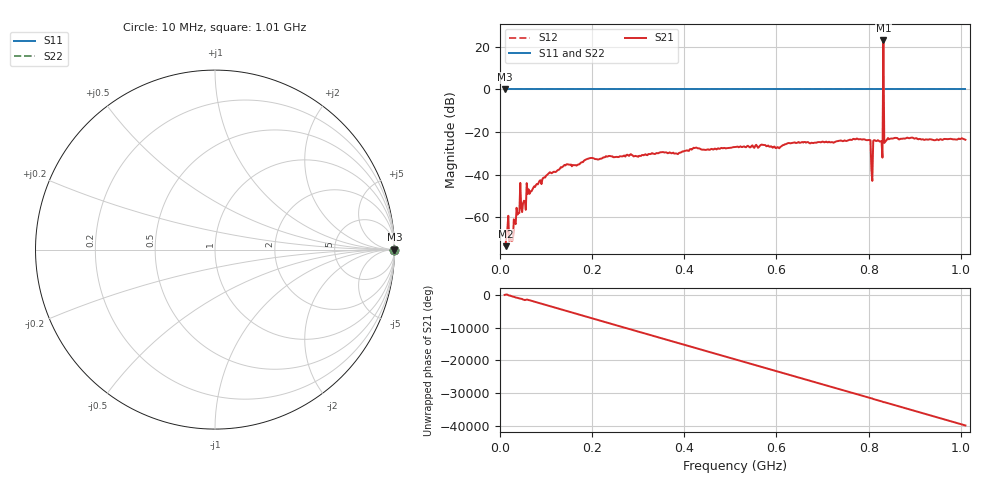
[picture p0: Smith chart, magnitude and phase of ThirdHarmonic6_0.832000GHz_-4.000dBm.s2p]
! 8/16/2025 3:36:27 AM
! C:\ANRITSUVNA\TEMP\TEMP.S2P
! CHANNEL.1
! TR.MEASUREMENT
! RAW.DATA
! RF.CORRECTION.OFF
! AVERAGING.OFF
! IF.BANDWIDTH: 5KHZ
! SWEEPTYPE:  FREQ.SWEEP(Linear)
! Reference Plane Port Info
! PORT:  PORT1  PORT2
! DISTANCE:  0  m  0  m
! TIME:  0  s  0  s
! PHASE.OFFSET:  0  deg.  0  deg.
! LOSS:  0  dB  0  dB
! REF.LOSS:  0  dB  0  dB
! REF.FREQ:  0  Hz  0  Hz
! Power Info
! POWER:  -20  dBm  -20  dBm
! EFF.POWER:  -20  dBm  -20  dBm
! SOURCE.ATTEN:  0  dB  0  dB
! TEST.ATTEN:  0  dB  0  dB
# GHZ S RI R 50.0
! FREQ.GHZ  S11RE  S11IM  S21RE  S21IM  S12RE  S12IM  S22RE  S22IM
!; PortSelection: Port_12
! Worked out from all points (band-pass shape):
!   501 points, 10 MHz to 1.01 GHz, reference 50 ohm
!   highest |S21| = 23.04 dB at 832 MHz (marker M1); lowest = -73.7 dB at 12 MHz (marker M2)
!   |S21| within 3 dB of the highest: 831.8911 MHz to 832.1245 MHz (233.4 kHz wide, 0.028 % of centre)
!   lowest |S11| = 0.0 dB at 10 MHz (marker M3)
!   |S11| at or under -10 dB: nowhere
!   |S22| runs from 0.0 to 0.0 dB; largest |S21 - S12| = 14
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0.01  1 0  0.000136 -0.000169  1 0  1 0
0.012  1 0  0.000149 0.000143  1 0  1 0
0.018  1 0  -0.000818 -0.00069  1 0  1 0
0.024  1 0  0.000231 -0.000157  1 0  1 0
0.04  1 0  0.000951 0.000791  1 0  1 0
0.052  1 0  0.000179 -0.00241  1 0  1 0
0.062  1 0  -0.00449 0.000261  1 0  1 0
0.178  1 0  -0.0189 -0.00474  1 0  1 0
0.344  1 0  0.0312 -0.00588  1 0  1 0
0.51  1 0  -0.0419 0.0141  1 0  1 0
0.678  1 0  -0.0219 -0.051  1 0  1 0
0.8  1 0  0.0632 0.0144  1 0  1 0
0.804  1 0  -0.055 -0.0324  1 0  1 0
0.81  1 0  0.0528 -0.0325  1 0  1 0
0.814  1 0  -0.0619 0.0135  1 0  1 0
0.826  1 0  0.0399 0.0448  1 0  1 0
0.828  1 0  0.0529 -0.03  1 0  1 0
0.832  1 0  -1.225 14.14  1 0  1 0
0.836  1 0  0.0577 0.0115  1 0  1 0
0.838  1 0  0.0253 -0.0577  1 0  1 0
0.844  1 0  0.0436 0.0511  1 0  1 0
1.01  1 0  -0.0616 -0.023  1 0  1 0
